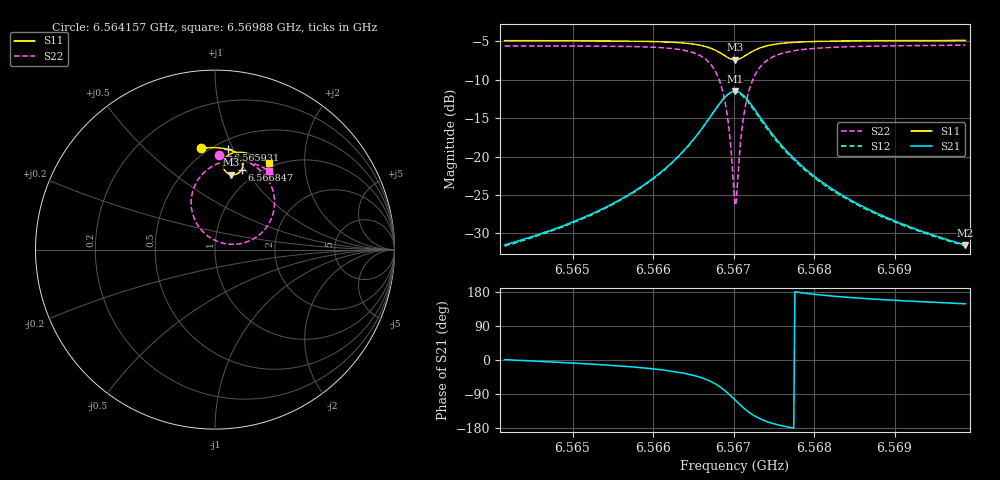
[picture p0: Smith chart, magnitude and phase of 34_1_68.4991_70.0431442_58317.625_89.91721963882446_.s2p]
#  HZ  S  RI  R  50.00
! Rohde & Schwarz Vector Network Analyzer
! Rohde-Schwarz,ZNB20-2Port,1311601062101988,3.16
! Created: UTC 3/20/2024, 5:05:12 PM
! freq[Hz]  re:S11  im:S11  re:S21  im:S21  re:S12  im:S12  re:S22  im:S22
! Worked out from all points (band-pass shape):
!   401 points, 6.564157 GHz to 6.56988 GHz, reference 50 ohm
!   highest |S21| = -11.50 dB at 6.567018 GHz (marker M1); lowest = -31.6 dB at 6.56988 GHz (marker M2)
!   |S21| within 3 dB of the highest: 6.566733 GHz to 6.567306 GHz (572.8 kHz wide, 0.00872 % of centre)
!   lowest |S11| = -7.4 dB at 6.567018 GHz (marker M3), VSWR 2.49, Z = 40.6 + j41.6 ohm
!   |S11| at or under -10 dB: nowhere
!   |S22| runs from -26.3 to -5.5 dB; largest |S21 - S12| = 0.012
!   S11 on the Smith chart (normalised r, x): 6.564157 GHz: 0.46, +0.76; 6.565931 GHz: 0.58, +0.95; 6.566847 GHz: 0.84, +0.97; 6.56988 GHz: 0.93, +1.34
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6.5641565e9  -0.0781 0.5636  0.0265 0.000452  0.0261 -3.47e-05  0.0207 0.5247
6.5651153e9  -0.00058 0.5679  0.0392 -0.00656  0.0385 -0.00701  0.1092 0.5136
6.5659309e9  0.0734 0.5581  0.0631 -0.0253  0.0619 -0.026  0.2083 0.4741
6.566074e9  0.088 0.5534  0.07 -0.0328  0.0689 -0.0336  0.2309 0.4588
6.5663745e9  0.1214 0.5363  0.0892 -0.0613  0.0877 -0.0625  0.2865 0.4027
6.5666035e9  0.1475 0.508  0.1033 -0.1103  0.1011 -0.1124  0.3273 0.3078
6.5667466e9  0.1564 0.4758  0.0969 -0.1668  0.0929 -0.1696  0.3234 0.2002
6.5668468e9  0.1486 0.4457  0.0663 -0.2183  0.0593 -0.2208  0.2696 0.1036
6.5668897e9  0.139 0.4331  0.0415 -0.2391  0.0329 -0.2407  0.2245 0.0659
6.5669326e9  0.125 0.4231  0.00893 -0.2546  -0.000976 -0.2546  0.1655 0.0387
6.5670042e9  0.0949 0.4172  -0.0568 -0.2597  -0.0675 -0.2553  0.0484 0.0348
6.5670185e9  0.0886 0.4182  -0.0703 -0.2567  -0.0807 -0.2515  0.0249 0.0414
6.5670471e9  0.0765 0.4221  -0.0959 -0.2469  -0.1056 -0.2398  -0.0189 0.0615
6.5671043e9  0.0573 0.4373  -0.1375 -0.2149  -0.1444 -0.2053  -0.0871 0.1227
6.5671473e9  0.0485 0.4522  -0.1577 -0.1849  -0.162 -0.1746  -0.1173 0.1777
6.5672045e9  0.0444 0.4727  -0.1706 -0.1446  -0.172 -0.1346  -0.1327 0.2497
6.5672761e9  0.0484 0.4947  -0.1705 -0.1012  -0.1694 -0.093  -0.1242 0.3245
6.5675336e9  0.0874 0.5341  -0.1276 -0.0221  -0.125 -0.0184  -0.0277 0.4564
6.5679772e9  0.1459 0.5421  -0.0759 0.00817  -0.0741 0.00929  0.0938 0.4968
6.5684208e9  0.1897 0.5343  -0.0516 0.0135  -0.0504 0.0139  0.1648 0.4927
6.568936e9  0.2327 0.5196  -0.0366 0.0145  -0.0359 0.0148  0.223 0.4768
6.5698805e9  0.3012 0.4849  -0.0226 0.0138  -0.0221 0.014  0.3024 0.4383
